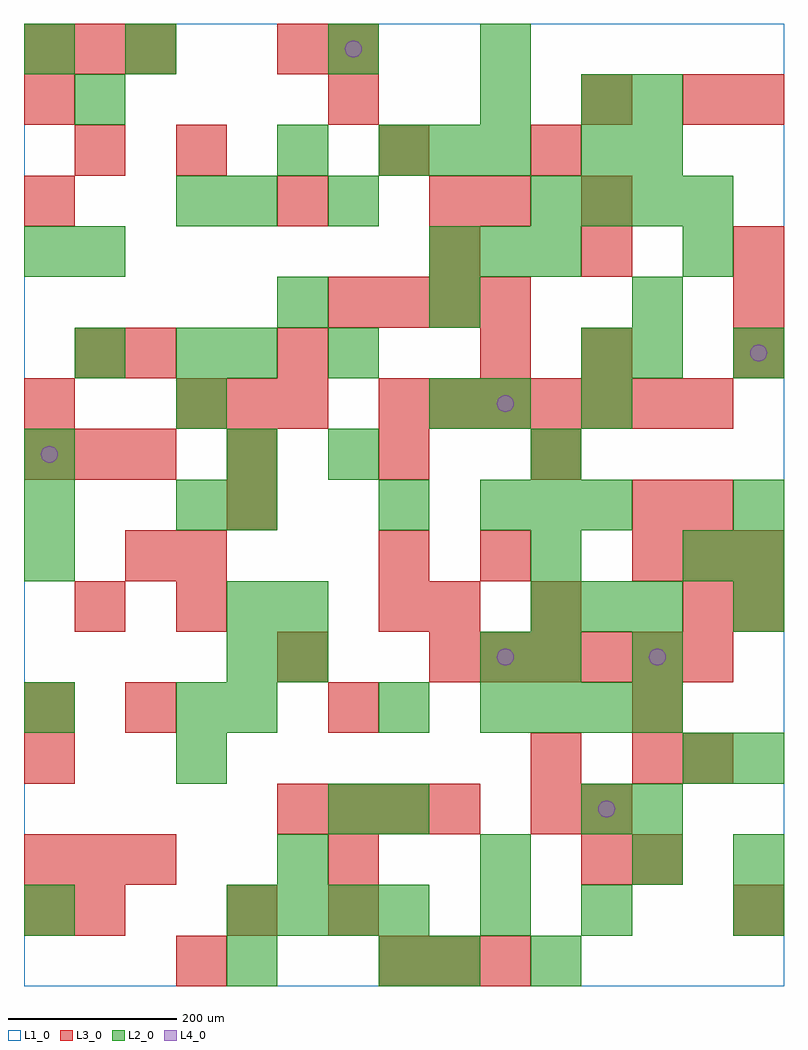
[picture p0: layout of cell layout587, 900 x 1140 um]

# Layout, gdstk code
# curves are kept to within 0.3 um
import gdstk
lib = gdstk.Library(unit=1e-6, precision=1e-09)
def R(c, l, rs):  # rectangles x0, y0, x1, y1
    for r in rs: c.add(gdstk.rectangle(r[:2], r[2:], *l))
def A(c, l, x, y, w, h, nx, ny, dx, dy):  # array of equal rectangles
    R(c, l, [(x+i*dx, y+j*dy, x+i*dx+w, y+j*dy+h) for i in range(nx) for j in range(ny)])
def P(c, l, *ps):  # polygons
    for p in ps: c.add(gdstk.Polygon(p, *l))
L1_0 = (1, 0)
L2_0 = (2, 0)
L3_0 = (3, 0)
L4_0 = (4, 0)

layout587 = lib.new_cell('layout587')
R(layout587, L1_0, [(0,0,900,1140)])
A(layout587, L2_0, 240, 60, 60, 60, 4, 1, 60, 0)
A(layout587, L2_0, 240, 300, 60, 60, 1, 3, 0, 60)
A(layout587, L2_0, 540, 300, 60, 60, 4, 1, 60, 0)
A(layout587, L2_0, 600, 360, 60, 60, 1, 3, 0, 120)
A(layout587, L2_0, 600, 420, 60, 60, 3, 1, 60, 0)
A(layout587, L2_0, 840, 420, 60, 60, 1, 3, 0, 60)
A(layout587, L2_0, 0, 480, 60, 60, 1, 3, 0, 60)
A(layout587, L2_0, 540, 540, 60, 60, 3, 1, 60, 0)
A(layout587, L2_0, 360, 720, 60, 60, 1, 3, 0, 180)
A(layout587, L2_0, 480, 840, 60, 60, 3, 1, 60, 0)
A(layout587, L2_0, 600, 900, 60, 60, 4, 1, 60, 0)
A(layout587, L2_0, 420, 960, 60, 60, 3, 1, 60, 0)
R(layout587, L2_0, [(240,0,300,60), (420,0,480,60), (480,0,540,60), (600,0,660,60), (0,60,60,120), (540,60,600,120), (660,60,720,120), (840,60,900,120), (300,120,360,180), (540,120,600,180), (720,120,780,180), (840,120,900,180), (360,180,420,240), (420,180,480,240), (660,180,720,240), (720,180,780,240), (180,240,240,300), (780,240,840,300), (840,240,900,300), (0,300,60,360), (180,300,240,360), (420,300,480,360), (300,360,360,420), (540,360,600,420), (720,360,780,420), (300,420,360,480), (780,480,840,540), (180,540,240,600), (240,540,300,600), (420,540,480,600), (240,600,300,660), (360,600,420,660), (180,660,240,720), (480,660,540,720), (540,660,600,720), (660,660,720,720), (60,720,120,780), (180,720,240,780), (240,720,300,780), (660,720,720,780), (720,720,780,780), (840,720,900,780), (300,780,360,840), (480,780,540,840), (720,780,780,840), (0,840,60,900), (60,840,120,900), (780,840,840,900), (180,900,240,960), (240,900,300,960), (300,960,360,1020), (660,960,720,1020), (720,960,780,1020), (60,1020,120,1080), (540,1020,600,1080), (660,1020,720,1080), (720,1020,780,1080), (0,1080,60,1140), (120,1080,180,1140), (540,1080,600,1140)])
A(layout587, L3_0, 420, 0, 60, 60, 3, 1, 60, 0)
A(layout587, L3_0, 0, 120, 60, 60, 3, 3, 60, 480)
A(layout587, L3_0, 300, 180, 60, 60, 4, 1, 60, 0)
A(layout587, L3_0, 480, 360, 60, 60, 6, 1, 60, 0)
A(layout587, L3_0, 720, 480, 60, 60, 3, 1, 60, 0)
A(layout587, L3_0, 240, 600, 60, 60, 3, 1, 180, 0)
A(layout587, L3_0, 180, 660, 60, 60, 3, 1, 60, 0)
A(layout587, L3_0, 420, 660, 60, 60, 7, 1, 60, 0)
A(layout587, L3_0, 300, 720, 60, 60, 1, 3, 0, 180)
A(layout587, L3_0, 360, 780, 60, 60, 4, 1, 60, 0)
A(layout587, L3_0, 480, 840, 60, 60, 3, 1, 180, 0)
R(layout587, L3_0, [(180,0,240,60), (0,60,60,120), (60,60,120,120), (240,60,300,120), (360,60,420,120), (840,60,900,120), (360,120,420,180), (660,120,720,180), (720,120,780,180), (600,180,660,240), (660,180,720,240), (0,240,60,300), (600,240,660,300), (720,240,780,300), (780,240,840,300), (0,300,60,360), (120,300,180,360), (360,300,420,360), (720,300,780,360), (300,360,360,420), (60,420,120,480), (180,420,240,480), (420,420,480,480), (480,420,540,480), (600,420,660,480), (780,420,840,480), (840,420,900,480), (120,480,180,540), (180,480,240,540), (420,480,480,540), (540,480,600,540), (240,540,300,600), (720,540,780,600), (780,540,840,600), (0,660,60,720), (60,720,120,780), (120,720,180,780), (540,720,600,780), (660,720,720,780), (840,720,900,780), (840,780,900,840), (0,900,60,960), (480,900,540,960), (540,900,600,960), (660,900,720,960), (60,960,120,1020), (180,960,240,1020), (420,960,480,1020), (600,960,660,1020), (0,1020,60,1080), (360,1020,420,1080), (660,1020,720,1080), (780,1020,840,1080), (840,1020,900,1080), (360,1080,420,1140)])
P(layout587, L4_0, [(40,630),(39.239,633.827),(37.071,637.071),(33.827,639.239),(30,640),(26.173,639.239),(22.929,637.071),(20.761,633.827),(20,630),(20.761,626.173),(22.929,622.929),(26.173,620.761),(30,620),(33.827,620.761),(37.071,622.929),(39.239,626.173)],
  [(400,1110),(399.239,1113.827),(397.071,1117.071),(393.827,1119.239),(390,1120),(386.173,1119.239),(382.929,1117.071),(380.761,1113.827),(380,1110),(380.761,1106.173),(382.929,1102.929),(386.173,1100.761),(390,1100),(393.827,1100.761),(397.071,1102.929),(399.239,1106.173)],
  [(580,390),(579.239,393.827),(577.071,397.071),(573.827,399.239),(570,400),(566.173,399.239),(562.929,397.071),(560.761,393.827),(560,390),(560.761,386.173),(562.929,382.929),(566.173,380.761),(570,380),(573.827,380.761),(577.071,382.929),(579.239,386.173)],
  [(580,690),(579.239,693.827),(577.071,697.071),(573.827,699.239),(570,700),(566.173,699.239),(562.929,697.071),(560.761,693.827),(560,690),(560.761,686.173),(562.929,682.929),(566.173,680.761),(570,680),(573.827,680.761),(577.071,682.929),(579.239,686.173)],
  [(700,210),(699.239,213.827),(697.071,217.071),(693.827,219.239),(690,220),(686.173,219.239),(682.929,217.071),(680.761,213.827),(680,210),(680.761,206.173),(682.929,202.929),(686.173,200.761),(690,200),(693.827,200.761),(697.071,202.929),(699.239,206.173)],
  [(760,390),(759.239,393.827),(757.071,397.071),(753.827,399.239),(750,400),(746.173,399.239),(742.929,397.071),(740.761,393.827),(740,390),(740.761,386.173),(742.929,382.929),(746.173,380.761),(750,380),(753.827,380.761),(757.071,382.929),(759.239,386.173)],
  [(880,750),(879.239,753.827),(877.071,757.071),(873.827,759.239),(870,760),(866.173,759.239),(862.929,757.071),(860.761,753.827),(860,750),(860.761,746.173),(862.929,742.929),(866.173,740.761),(870,740),(873.827,740.761),(877.071,742.929),(879.239,746.173)])

lib.write_gds('layout587.gds')
